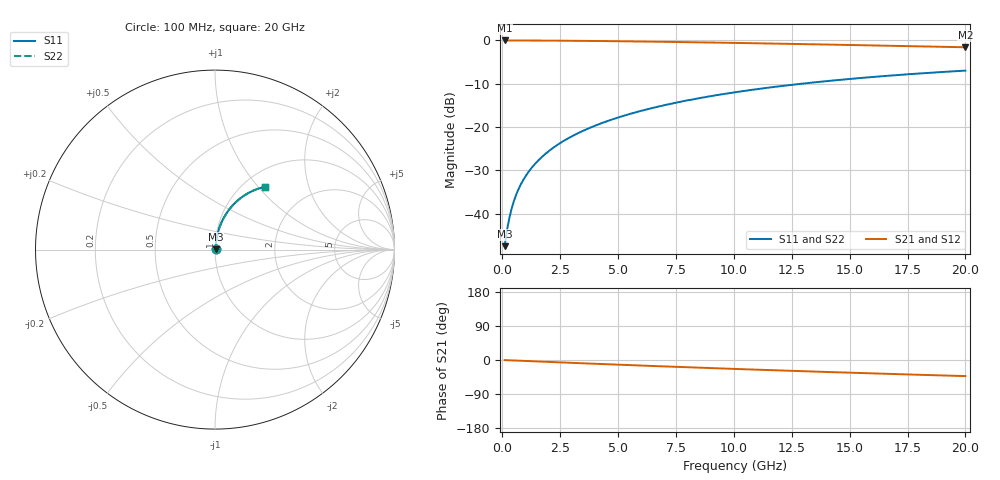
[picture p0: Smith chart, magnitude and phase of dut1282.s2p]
! Touchstone file exported from HFSS 2024.1.0
!  File:  C:/UserFiles/LocalFiles/RDL_TSV_Batchsim/temp_RDL_top_1282_1780242582.aedt
!  Generated:  11:51:50 PM May 31, 2026
!  Design:  RDL_top
!  Project:  temp_RDL_top_1282_1780242582
!  Setup:  Setup1
!  Solution:  Sweep
! Variables:
!  dtsv = 10.80580581um
!  hbump = 3um
!  htsv = 59.83um
!  ldown = 100um
!  lrdl = 585.59um
!  p = 40
!  p1 = 46.89um
!  rhole = 1um
!  t = 450um
!  tdown = 3.915915916um
!  trdl = 4.92um
!  wdown = 15.38538539um
!  wrdl = 13.39um
# GHz S MA R 50.000000
! Terminal data exported
! Port[1] = Box2_T1
! Port[2] = Box2_T2
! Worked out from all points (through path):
!   200 points, 100 MHz to 20 GHz, reference 50 ohm
!   highest |S21| = -0.03 dB at 100 MHz (marker M1); lowest = -1.6 dB at 20 GHz (marker M2)
!   group delay of S21, straight-line fit = 5.89 ps
!   lowest |S11| = -47.5 dB at 100 MHz (marker M3), VSWR 1.01, Z = 50.3 + j0.273 ohm
!   |S11| at or under -10 dB: start of sweep to 12.95 GHz
!   |S22| runs from -47.5 to -7.0 dB; largest |S21 - S12| = 4.1e-15
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0.1  0.00421 40.1  0.9968 -0.3  0.9968 -0.3  0.00421 40.1
! Gamma 0 0 0 0
! Port Impedance 50 0 50 0
0.2  0.006336 58.8  0.9967 -0.5  0.9967 -0.5  0.006336 58.8
0.3  0.00879 67.4  0.9966 -0.8  0.9966 -0.8  0.00879 67.4
0.4  0.01135 72.0  0.9964 -1.0  0.9964 -1.0  0.01135 71.9
0.5  0.01394 74.7  0.9963 -1.3  0.9963 -1.3  0.01394 74.7
0.6  0.01654 76.5  0.9961 -1.5  0.9961 -1.5  0.01654 76.5
0.8  0.02173 78.6  0.9958 -2.0  0.9958 -2.0  0.02173 78.6
1.1  0.02946 80.2  0.9952 -2.8  0.9952 -2.8  0.02946 80.2
1.5  0.0397 81.1  0.9943 -3.8  0.9943 -3.8  0.0397 81.2
1.8  0.04736 81.4  0.9934 -4.5  0.9934 -4.5  0.04736 81.4
2.1  0.05501 81.5  0.9924 -5.3  0.9924 -5.3  0.05501 81.5
2.7  0.0703 81.2  0.99 -6.8  0.99 -6.8  0.0703 81.2
3.5  0.09065 80.5  0.9861 -8.7  0.9861 -8.7  0.09066 80.5
4.2  0.1084 79.5  0.982 -10.4  0.982 -10.4  0.1084 79.6
5  0.1286 78.3  0.9768 -12.3  0.9768 -12.3  0.1286 78.4
5.9  0.1512 76.9  0.9703 -14.4  0.9703 -14.4  0.1512 76.9
6.8  0.1735 75.3  0.9632 -16.5  0.9632 -16.5  0.1735 75.3
8.3  0.2101 72.6  0.9503 -19.8  0.9503 -19.8  0.2101 72.6
10.1  0.2527 69.3  0.9337 -23.7  0.9337 -23.7  0.2527 69.3
13.4  0.3257 63.1  0.9007 -30.4  0.9007 -30.4  0.3258 63.1
16.7  0.3908 57.1  0.8662 -36.7  0.8662 -36.7  0.391 57.1
20  0.4473 51.5  0.8318 -42.5  0.8318 -42.5  0.4475 51.5
